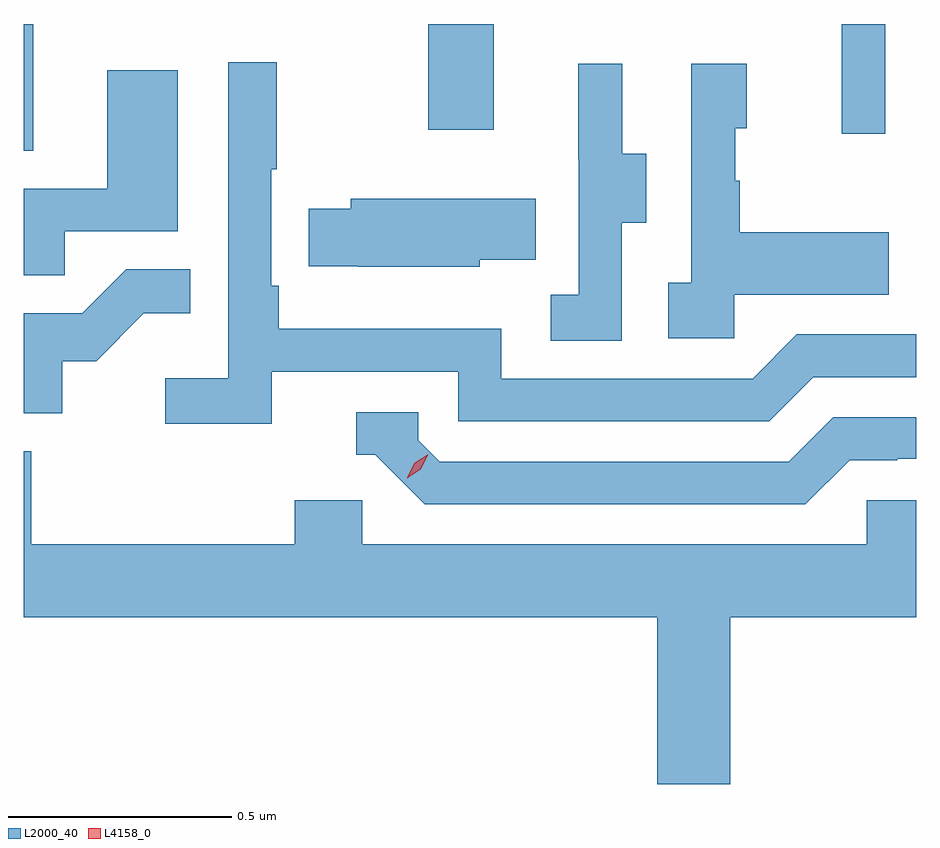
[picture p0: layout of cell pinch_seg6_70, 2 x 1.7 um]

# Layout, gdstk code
import gdstk
lib = gdstk.Library(unit=1e-6, precision=1e-09)
def R(c, l, rs):  # rectangles x0, y0, x1, y1
    for r in rs: c.add(gdstk.rectangle(r[:2], r[2:], *l))
def P(c, l, *ps):  # polygons
    for p in ps: c.add(gdstk.Polygon(p, *l))
L2000_40 = (2000, 40)
L4158_0 = (4158, 0)

pinch_seg6_70 = lib.new_cell('pinch_seg6_70')
R(pinch_seg6_70, L2000_40, [(894.856,933.73,894.877,934.014), (896.69,933.768,896.787,934.014), (895.762,933.777,895.909,934.014)])
P(pinch_seg6_70, L2000_40, [(895.412,933.234),(895.83,933.234),(895.83,933.123),(896.527,933.123),(896.626,933.222),(896.856,933.222),(896.856,933.318),(896.589,933.318),(896.49,933.219),(895.926,933.219),(895.926,933.331),(895.427,933.331),(895.427,933.427),(895.41,933.427),(895.41,933.688),(895.423,933.688),(895.423,933.928),(895.314,933.928),(895.314,933.22),(895.173,933.22),(895.173,933.118),(895.412,933.118)],
  [(896.196,933.568),(896.251,933.568),(896.251,933.723),(896.197,933.723),(896.197,933.925),(896.099,933.925),(896.099,933.711),(896.1,933.711),(896.1,933.407),(896.037,933.407),(896.037,933.304),(896.196,933.304)],
  [(896.448,933.407),(896.795,933.407),(896.795,933.547),(896.461,933.547),(896.461,933.662),(896.451,933.662),(896.451,933.78),(896.476,933.78),(896.476,933.925),(896.352,933.925),(896.352,933.434),(896.301,933.434),(896.301,933.309),(896.448,933.309)],
  [(894.947,933.549),(895.201,933.549),(895.201,933.91),(895.043,933.91),(895.043,933.645),(894.856,933.645),(894.856,933.451),(894.947,933.451)],
  [(895.878,933.485),(896.003,933.485),(896.003,933.622),(895.589,933.622),(895.589,933.6),(895.495,933.6),(895.495,933.471),(895.606,933.471),(895.606,933.47),(895.878,933.47)],
  [(894.942,933.258),(895.018,933.258),(895.125,933.365),(895.229,933.365),(895.229,933.464),(895.085,933.464),(894.987,933.366),(894.856,933.366),(894.856,933.141),(894.942,933.141)],
  [(896.707,933.036),(896.814,933.036),(896.814,933.039),(896.856,933.039),(896.856,933.132),(896.67,933.132),(896.571,933.033),(895.788,933.033),(895.74,933.081),(895.74,933.144),(895.601,933.144),(895.601,933.048),(895.644,933.048),(895.755,932.937),(896.608,932.937)],
  [(896.44,932.684),(896.856,932.684),(896.856,932.946),(896.745,932.946),(896.745,932.848),(895.614,932.848),(895.614,932.946),(895.463,932.946),(895.463,932.848),(894.872,932.848),(894.872,933.056),(894.856,933.056),(894.856,932.684),(896.276,932.684),(896.276,932.31),(896.44,932.31)])
P(pinch_seg6_70, L4158_0, [(895.715,932.996),(895.715,932.997),(895.731,933.029),(895.762,933.049),(895.762,933.049),(895.762,933.049),(895.746,933.016),(895.715,932.996)])

lib.write_gds('pinch_seg6_70.gds')
